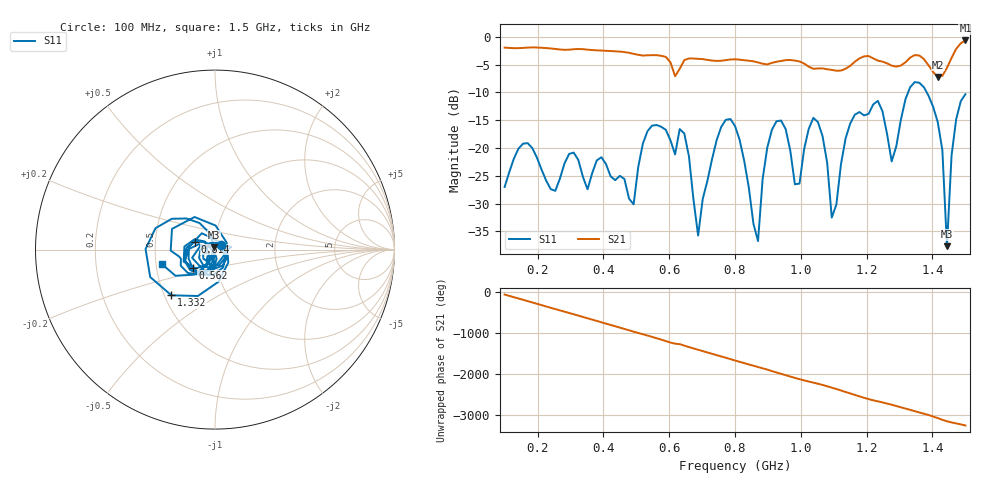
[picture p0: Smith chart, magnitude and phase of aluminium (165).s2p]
! NanoVNA-App
! Date: 2025-09-25 14:56:34
! Start: 100MHz Stop: 1,5GHz Points: 101
! S-Parameter data: F S11 S21 S12 S22
# Hz S RI R 50
!  Frequency  S11_Real  S11_Imag  S21_Real  S21_Imag  S12_Real  S12_Imag  S22_Real  S22_Imag
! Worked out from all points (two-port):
!   101 points, 100 MHz to 1.5 GHz, reference 50 ohm
!   highest |S21| = -0.64 dB at 1.5 GHz (marker M1); lowest = -7.2 dB at 1.416 GHz (marker M2)
!   |S21| within 3 dB of the highest: start of sweep to 590.5 MHz; 1.459 GHz to end of sweep (the widest 2 of 4)
!   lowest |S11| = -37.6 dB at 1.444 GHz (marker M3), VSWR 1.03, Z = 49.5 + j1.2 ohm
!   |S11| at or under -10 dB: start of sweep to 1.326 GHz; 1.383 GHz to end of sweep
!   S12 and S22 are empty: the file has one direction only
!   S11 on the Smith chart (normalised r, x): 100 MHz: 1.07, +0.06; 562 MHz: 0.76, -0.16; 814 MHz: 0.80, +0.07; 1.332 GHz: 0.54, -0.32; 1.5 GHz: 0.54, -0.10
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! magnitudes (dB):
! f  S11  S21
! 100 MHz  -27.0  -1.9
! 338 MHz  -25.2  -2.2
! 492 MHz  -30.1  -3.1
! 562 MHz  -15.8  -3.3
! 576 MHz  -16.2  -3.4
! 646 MHz  -17.4  -4.2
! 688 MHz  -35.7  -3.9
! 800 MHz  -16.0  -4.0
! 814 MHz  -18.5  -4.1
! 870 MHz  -36.7  -4.6
! 912 MHz  -16.7  -4.7
! 996 MHz  -26.4  -4.4
! 1.038 GHz  -14.6  -5.7
! 1.094 GHz  -32.5  -5.9
! 1.164 GHz  -14.0  -4.5
! 1.234 GHz  -11.5  -4.3
! 1.276 GHz  -22.4  -5.2
! 1.332 GHz  -9.1  -3.7
! 1.416 GHz  -15.3  -7.2
! 1.444 GHz  -37.6  -5.6
! 1.458 GHz  -21.3  -3.8
! 1.5 GHz  -10.3  -0.6
